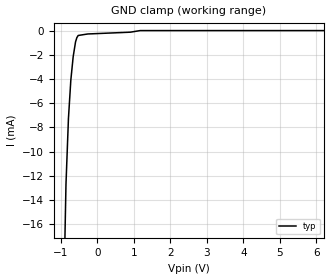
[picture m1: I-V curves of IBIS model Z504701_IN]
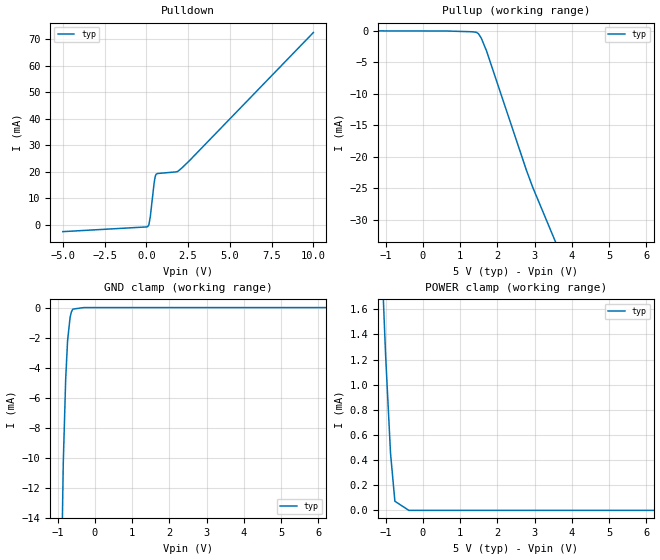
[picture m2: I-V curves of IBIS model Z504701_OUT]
| YOU ARE ONLY AUTHORIZED TO USE THIS SOFTWARE
| ACCORDING TO LICENSOR'S LICENSE RESTRICTIONS.
[IBIS Ver] 3.1
[File Name] sn74ls55d.ibs
[File Rev] 2.0
[Source] Measured and created by ICX Technology
[Date] Friday 7/14/00 9:08:20 AM
[Copyright]
| (C) COPYRIGHT 1993-2000
| MENTOR GRAPHICS CORPORATION
| ICX STANDARD LIBRARY, ICX PROJECT MODELING,
| ICX CUSTOM MODELING, ICX VENDOR MODEL
| ALL RIGHTS RESERVED.
| THE FOLLOWING ARE TRADEMARKS OR SERVICE MARKS OF
| MENTOR GRAPHICS CORPORATION:ICX (R), ICX STANDARD
| LIBRARY(R), ICX PROJECT MODELING(R), ICX CUSTOM
| MODELING(R), qualityIBIS(TM), MODELVIEWER(TM),
| AND MODELEDITOR(TM)
| ALL COPIES OF SOFTWARE, INCLUDING BUT NOT LIMITED TO
| ANY MODIFICATIONS, ENHANCEMENTS OR DERIVATIVE WORKS,
| MUST CONTAIN ALL MENTOR GRAPHICS CORPORATION'S
| NOTICES AND LEGENDS, INCLUDING THOSE EMBEDDED IN
| SOFTWARE AND THOSE AFFIXED TO SOFTWARE MEDIUM
| AND CONTAINER, AS RECEIVED FROM MENTOR GRAPHICS
| CORPORATION.
|  ZAP Model Builder 2.7
[Component] SN74LS55D
[Manufacturer] OnSemiconductor
[Package]
| variable   typ   min   max
R_pkg  .21ohms NA NA
L_pkg  4.543nH NA NA
C_pkg  1.059pF NA NA
[Pin] signal_name  model_name  R_pin  L_pin C_pin
1 A Z504701_IN .22 6.757n 1.432p
2 B Z504701_IN .212 4.757n 1.142p
3 C Z504701_IN .204 3.257n .852p
4 D Z504701_IN .196 2.257n .562p
5 NC NC .204 3.257n .852p
6 NC NC .212 4.757n 1.142p
7 GROUND GND .22 6.757n 1.432p
8 _Y Z504701_OUT .22 6.757n 1.432p
9 NC NC .212 4.757n 1.142p
10 E Z504701_IN .204 3.257n .852p
11 F Z504701_IN .196 2.257n .562p
12 G Z504701_IN .204 3.257n .852p
13 H Z504701_IN .212 4.757n 1.142p
14 VCC POWER .22 6.757n 1.432p
| Models and submodels in the file (2): Z504701_IN (Input), Z504701_OUT (Output)
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| (C) COPYRIGHT 1993-2000
| MENTOR GRAPHICS CORPORATION
| ICX STANDARD LIBRARY, ICX PROJECT MODELING,
| ICX CUSTOM MODELING, ICX VENDOR MODEL
| ALL RIGHTS RESERVED.
| THE FOLLOWING ARE TRADEMARKS OR SERVICE MARKS OF
| MENTOR GRAPHICS CORPORATION:ICX (R), ICX STANDARD
| LIBRARY(R), ICX PROJECT MODELING(R), ICX CUSTOM
| MODELING(R), qualityIBIS(TM), MODELVIEWER(TM),
| AND MODELEDITOR(TM)
| ALL COPIES OF SOFTWARE, INCLUDING BUT NOT LIMITED TO
| ANY MODIFICATIONS, ENHANCEMENTS OR DERIVATIVE WORKS,
| MUST CONTAIN ALL MENTOR GRAPHICS CORPORATION'S
| NOTICES AND LEGENDS, INCLUDING THOSE EMBEDDED IN
| SOFTWARE AND THOSE AFFIXED TO SOFTWARE MEDIUM
| AND CONTAINER, AS RECEIVED FROM MENTOR GRAPHICS
| CORPORATION.
| Model Application Version 1.89 2/18/99.
[Model] Z504701_IN
Model_type Input
Vinl = 800.0mV
Vinh = 2.000V
C_comp 4.000pF NA NA
| variable typ   min   max
[Voltage Range] 5.000V NA NA
[GND Clamp Reference] 0.000V NA NA
[POWER Clamp Reference] 5.000V NA NA
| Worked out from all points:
|   GND clamp passes 1 mA (typ) near -0.60 V on its own axis
[GND Clamp]
-5V       -648.6mA   NA         NA
-859mV    -12.7mA    NA         NA
-791.3mV  -7.258mA   NA         NA
-726.2mV  -4.097mA   NA         NA
-662mV    -2.168mA   NA         NA
-597.3mV  -941.5uA   NA         NA
-561.7mV  -592.3uA   NA         NA
-524.6mV  -411uA     NA         NA
-262.3mV  -286.5uA   NA         NA
908.4mV   -138.1uA   NA         NA
1.171V    -6.701uA   NA         NA
10V       -6.701uA   NA         NA
[POWER Clamp]
-5V       0A         NA         NA
10V       0A         NA         NA
| (C) COPYRIGHT 1993-2000
| MENTOR GRAPHICS CORPORATION
| ICX STANDARD LIBRARY, ICX PROJECT MODELING,
| ICX CUSTOM MODELING, ICX VENDOR MODEL
| ALL RIGHTS RESERVED.
| THE FOLLOWING ARE TRADEMARKS OR SERVICE MARKS OF
| MENTOR GRAPHICS CORPORATION:ICX (R), ICX STANDARD
| LIBRARY(R), ICX PROJECT MODELING(R), ICX CUSTOM
| MODELING(R), qualityIBIS(TM), MODELVIEWER(TM),
| AND MODELEDITOR(TM)
| ALL COPIES OF SOFTWARE, INCLUDING BUT NOT LIMITED TO
| ANY MODIFICATIONS, ENHANCEMENTS OR DERIVATIVE WORKS,
| MUST CONTAIN ALL MENTOR GRAPHICS CORPORATION'S
| NOTICES AND LEGENDS, INCLUDING THOSE EMBEDDED IN
| SOFTWARE AND THOSE AFFIXED TO SOFTWARE MEDIUM
| AND CONTAINER, AS RECEIVED FROM MENTOR GRAPHICS
| CORPORATION.
| Model Application Version 1.89 2/18/99.
[Model] Z504701_OUT
Model_type Output
Vref=5.000V
Rref=2.000kohms
Cref=15.00pF
Vmeas=1.300V
C_comp 8.000pF NA NA
| variable typ   min   max
[Voltage Range] 5.000V NA NA
[POWER Clamp Reference] 5.000V NA NA
[Pullup Reference] 5.000V NA NA
[Pulldown Reference] 0.000V NA NA
[GND Clamp Reference] 0.000V NA NA
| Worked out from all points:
|   slope of the pulldown table from 0 to 0.75 V, typ, clamps not added: 37.2 ohm
|   slope of the pullup table from 0 to 0.75 V, typ, clamps not added: 29.9 kohm
|   GND clamp passes 1 mA (typ) near -0.68 V on its own axis
|   POWER clamp passes 1 mA (typ) near -0.96 V on its own axis
[GND Clamp]
-5V       -668mA     NA         NA
-851.5mV  -10.37mA   NA         NA
-786.8mV  -4.778mA   NA         NA
-735.6mV  -2.201mA   NA         NA
-667.6mV  -643uA     NA         NA
-631.4mV  -284.8uA   NA         NA
-596.1mV  -104.3uA   NA         NA
-298mV    0A         NA         NA
10V       0A         NA         NA
[Pulldown]
-5V       -2.545mA   NA         NA
95.25mV   -560uA     NA         NA
153mV     92.88uA    NA         NA
238.9mV   3.116mA    NA         NA
469.7mV   15.97mA    NA         NA
526.2mV   18.09mA    NA         NA
597.5mV   19.15mA    NA         NA
1.845V    20.08mA    NA         NA
2.147V    21.56mA    NA         NA
10V       72.51mA    NA         NA
[Pullup]
-5V       46.41uA    NA         NA
641mV     -6.111uA   NA         NA
1.322V    -125.5uA   NA         NA
1.438V    -206.7uA   NA         NA
1.494V    -434.5uA   NA         NA
1.57V     -1.143mA   NA         NA
1.71V     -3.153mA   NA         NA
2.773V    -21.97mA   NA         NA
2.945V    -24.74mA   NA         NA
10V       -124.8mA   NA         NA
[POWER Clamp]
-5V       30.73mA    NA         NA
-1V       1.241mA    NA         NA
-867mV    454.4uA    NA         NA
-750mV    72.44uA    NA         NA
-375mV    0A         NA         NA
10V       0A         NA         NA
[Ramp]
| variable typ min max
dV/dt_r 1.796/10.39n NA NA
dV/dt_f 1.796/5.186n NA NA
R_load = 500.0Ohms
